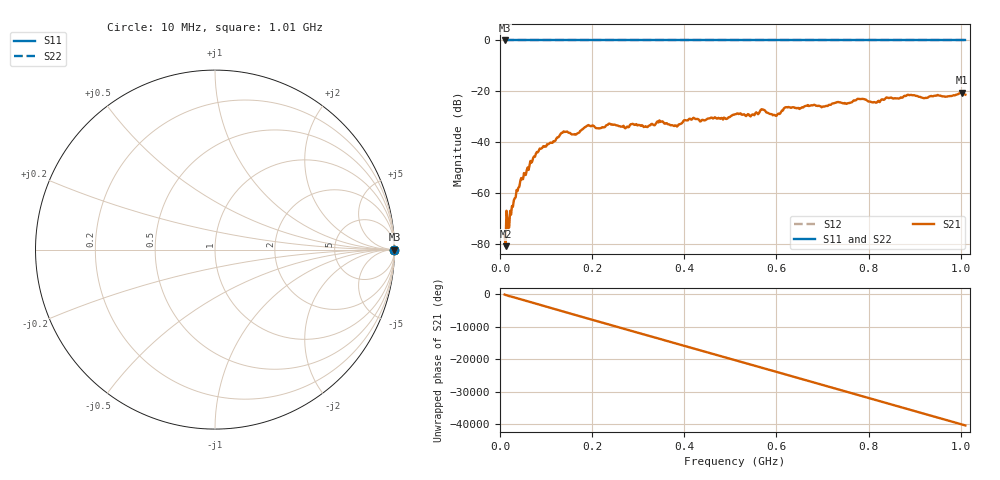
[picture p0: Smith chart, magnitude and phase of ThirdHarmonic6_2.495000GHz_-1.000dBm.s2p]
! 8/17/2025 4:44:58 AM
! C:\ANRITSUVNA\TEMP\TEMP.S2P
! CHANNEL.1
! TR.MEASUREMENT
! RAW.DATA
! RF.CORRECTION.OFF
! AVERAGING.OFF
! IF.BANDWIDTH: 5KHZ
! SWEEPTYPE:  FREQ.SWEEP(Linear)
! Reference Plane Port Info
! PORT:  PORT1  PORT2
! DISTANCE:  0  m  0  m
! TIME:  0  s  0  s
! PHASE.OFFSET:  0  deg.  0  deg.
! LOSS:  0  dB  0  dB
! REF.LOSS:  0  dB  0  dB
! REF.FREQ:  0  Hz  0  Hz
! Power Info
! POWER:  -20  dBm  -20  dBm
! EFF.POWER:  -20  dBm  -20  dBm
! SOURCE.ATTEN:  0  dB  0  dB
! TEST.ATTEN:  0  dB  0  dB
# GHZ S RI R 50.0
! FREQ.GHZ  S11RE  S11IM  S21RE  S21IM  S12RE  S12IM  S22RE  S22IM
!; PortSelection: Port_12
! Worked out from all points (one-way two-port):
!   501 points, 10 MHz to 1.01 GHz, reference 50 ohm
!   highest |S21| = -20.58 dB at 1.002 GHz (marker M1); lowest = -81.0 dB at 12 MHz (marker M2)
!   lowest |S11| = 0.0 dB at 10 MHz (marker M3)
!   |S11| at or under -10 dB: nowhere
!   |S22| runs from 0.0 to 0.0 dB; largest |S21 - S12| = 1.1
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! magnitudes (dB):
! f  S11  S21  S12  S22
! 10 MHz  0.0  -76.7  0.0  0.0
! 12 MHz  0.0  -81.0  0.0  0.0
! 48 MHz  0.0  -54.7  0.0  0.0
! 82 MHz  0.0  -44.0  0.0  0.0
! 136 MHz  0.0  -36.3  0.0  0.0
! 162 MHz  0.0  -36.9  0.0  0.0
! 178 MHz  0.0  -35.0  0.0  0.0
! 240 MHz  0.0  -32.9  0.0  0.0
! 316 MHz  0.0  -33.8  0.0  0.0
! 344 MHz  0.0  -32.3  0.0  0.0
! 382 MHz  0.0  -33.5  0.0  0.0
! 416 MHz  0.0  -31.2  0.0  0.0
! 510 MHz  0.0  -29.0  0.0  0.0
! 548 MHz  0.0  -29.1  0.0  0.0
! 570 MHz  0.0  -27.2  0.0  0.0
! 596 MHz  0.0  -29.3  0.0  0.0
! 622 MHz  0.0  -26.3  0.0  0.0
! 678 MHz  0.0  -25.6  0.0  0.0
! 814 MHz  0.0  -24.4  0.0  0.0
! 844 MHz  0.0  -22.7  0.0  0.0
! 1.002 GHz  0.0  -20.6  0.0  0.0
! 1.01 GHz  0.0  -21.3  0.0  0.0
